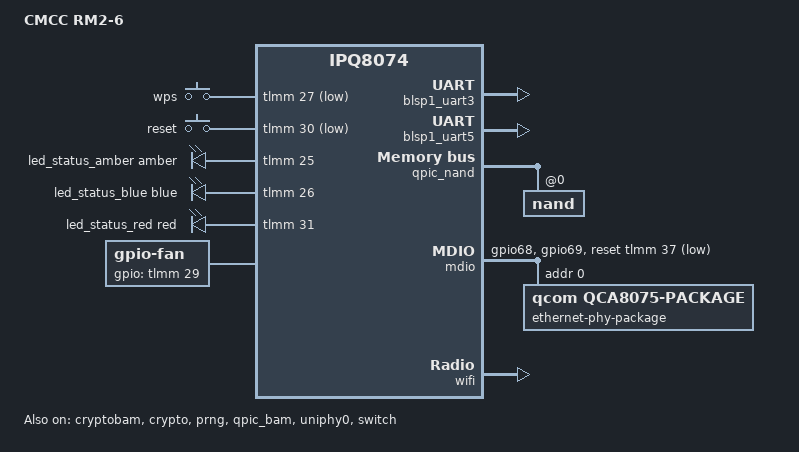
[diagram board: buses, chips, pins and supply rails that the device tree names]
// SPDX-License-Identifier: GPL-2.0-or-later OR MIT

/dts-v1/;

#include "ipq8074-512m.dtsi"
#include "ipq8074-ac-cpu.dtsi"
#include "ipq8074-ess.dtsi"
#include <dt-bindings/gpio/gpio.h>
#include <dt-bindings/input/input.h>
#include <dt-bindings/leds/common.h>

/ {
	model = "CMCC RM2-6";
	compatible = "cmcc,rm2-6", "qcom,ipq8074";

	aliases {
		serial0 = &blsp1_uart5;
		serial1 = &blsp1_uart3;
		led-boot = &led_status_red;
		led-failsafe = &led_status_red;
		led-running = &led_status_blue;
		led-upgrade = &led_status_amber;
		/*
		 * Aliases as required by u-boot
		 * to patch MAC addresses
		 */
		ethernet0 = &swport4;
		ethernet1 = &swport2;
		ethernet2 = &swport5;
		label-mac-device = &swport4;
	};

	chosen {
		stdout-path = "serial0:115200n8";
		bootargs-append = " root=/dev/ubiblock0_1";
	};

	keys {
		compatible = "gpio-keys";

		wps {
			label = "wps";
			linux,code = <KEY_WPS_BUTTON>;
			gpios = <&tlmm 27 GPIO_ACTIVE_LOW>;
		};

		reset {
			label = "reset";
			linux,code = <KEY_RESTART>;
			gpios = <&tlmm 30 GPIO_ACTIVE_LOW>;
		};
	};

	leds {
		compatible = "gpio-leds";

		led_status_amber: status-amber {
			color = <LED_COLOR_ID_AMBER>;
			function = LED_FUNCTION_STATUS;
			gpios = <&tlmm 25 GPIO_ACTIVE_HIGH>;
		};

		led_status_blue: status-blue {
			color = <LED_COLOR_ID_BLUE>;
			function = LED_FUNCTION_STATUS;
			gpios = <&tlmm 26 GPIO_ACTIVE_HIGH>;
		};

		led_status_red: status-red {
			color = <LED_COLOR_ID_RED>;
			function = LED_FUNCTION_STATUS;
			gpios = <&tlmm 31 GPIO_ACTIVE_HIGH>;
		};
	};

	fan: gpio-fan {
		#cooling-cells = <2>;
		compatible = "gpio-fan";
		gpios = <&tlmm 29 GPIO_ACTIVE_HIGH>;
		gpio-fan,speed-map = <0 0>, <1 1>;
	};
};

&tlmm {
	mdio_pins: mdio-pins {
		mdc {
			pins = "gpio68";
			function = "mdc";
			drive-strength = <8>;
			bias-pull-up;
		};

		mdio {
			pins = "gpio69";
			function = "mdio";
			drive-strength = <8>;
			bias-pull-up;
		};
	};
};

&blsp1_uart3 {
	status = "okay";
};

&blsp1_uart5 {
	status = "okay";
};

&cryptobam {
	status = "okay";
};

&crypto {
	status = "okay";
};

&prng {
	status = "okay";
};

&qpic_bam {
	status = "okay";
};

&qpic_nand {
	status = "okay";

	nand@0 {
		reg = <0>;
		nand-ecc-strength = <8>;
		nand-ecc-step-size = <512>;
		nand-bus-width = <8>;

		partitions {
			compatible = "qcom,smem-part";
		};
	};
};

&cpu0_thermal {
	trips {
		cpu0_trip_active: cpu-active {
			temperature = <60000>;
			hysteresis = <2000>;
			type = "active";
		};
	};

	cooling-maps {
		cpu-active {
			cooling-device = <&fan THERMAL_NO_LIMIT THERMAL_NO_LIMIT>;
			trip = <&cpu0_trip_active>;
		};
	};
};

&cpu1_thermal {
	trips {
		cpu1_trip_active: cpu-active {
			temperature = <60000>;
			hysteresis = <2000>;
			type = "active";
		};
	};

	cooling-maps {
		cpu-active {
			cooling-device = <&fan THERMAL_NO_LIMIT THERMAL_NO_LIMIT>;
			trip = <&cpu1_trip_active>;
		};
	};
};

&cpu2_thermal {
	trips {
		cpu2_trip_active: cpu-active {
			temperature = <60000>;
			hysteresis = <2000>;
			type = "active";
		};
	};

	cooling-maps {
		cpu-active {
			cooling-device = <&fan THERMAL_NO_LIMIT THERMAL_NO_LIMIT>;
			trip = <&cpu2_trip_active>;
		};
	};
};

&cpu3_thermal {
	trips {
		cpu3_trip_active: cpu-active {
			temperature = <60000>;
			hysteresis = <2000>;
			type = "active";
		};
	};

	cooling-maps {
		cpu-active {
			cooling-device = <&fan THERMAL_NO_LIMIT THERMAL_NO_LIMIT>;
			trip = <&cpu3_trip_active>;
		};
	};
};

&cluster_thermal {
	trips {
		cluster_active: cluster-active {
			temperature = <60000>;
			hysteresis = <2000>;
			type = "active";
		};
	};

	cooling-maps {
		cluster-active {
			cooling-device = <&fan THERMAL_NO_LIMIT THERMAL_NO_LIMIT>;
			trip = <&cluster_active>;
		};
	};
};

&mdio {
	status = "okay";

	pinctrl-0 = <&mdio_pins>;
	pinctrl-names = "default";
	reset-gpios = <&tlmm 37 GPIO_ACTIVE_LOW>;

	ethernet-phy-package@0 {
		compatible = "qcom,qca8075-package";
		#address-cells = <1>;
		#size-cells = <0>;
		reg = <0>;

		qca8075_1: ethernet-phy@1 {
			compatible = "ethernet-phy-ieee802.3-c22";
			reg = <1>;
		};

		qca8075_3: ethernet-phy@3 {
			compatible = "ethernet-phy-ieee802.3-c22";
			reg = <3>;
		};

		qca8075_4: ethernet-phy@4 {
			compatible = "ethernet-phy-ieee802.3-c22";
			reg = <4>;
		};
	};
};

&uniphy0 {
	status = "okay";
};

&switch {
	status = "okay";

	ports {
		#address-cells = <1>;
		#size-cells = <0>;

		port@0 {
			reg = <0>;
			ethernet = <&edma>;
			phy-mode = "internal";

			fixed-link {
				speed = <1000>;
				full-duplex;
			};
		};

		/*
		 * Directly connect to the Hi5630
		 * PLC (Power Line Communication)
		 */
		swport2: port@2 {
			reg = <2>;
			label = "plc";
			phy-handle = <&qca8075_1>;
			phy-mode = "psgmii";
			pcs-handle = <&uniphy0 1>;
		};

		swport4: port@4 {
			reg = <4>;
			label = "lan";
			phy-handle = <&qca8075_3>;
			phy-mode = "psgmii";
			pcs-handle = <&uniphy0 3>;
		};

		swport5: port@5 {
			reg = <5>;
			label = "wan";
			phy-handle = <&qca8075_4>;
			phy-mode = "psgmii";
			pcs-handle = <&uniphy0 4>;
		};
	};
};

&edma {
	status = "okay";
};

&wifi {
	status = "okay";

	qcom,ath11k-calibration-variant = "CMCC-RM2-6";
	qcom,ath11k-fw-memory-mode = <1>;
};
